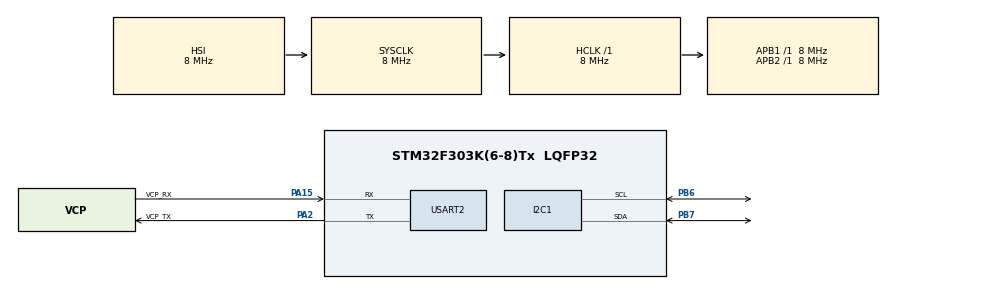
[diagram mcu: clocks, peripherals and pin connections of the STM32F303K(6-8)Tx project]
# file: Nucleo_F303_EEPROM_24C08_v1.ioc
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Mcu.Family=STM32F3
Mcu.Name=STM32F303K(6-8)Tx
Mcu.Package=LQFP32
NVIC.PriorityGroup=NVIC_PRIORITYGROUP_4
PA13.GPIO_Label=SWDIO
PA13.Mode=Serial_Wire
PA13.Signal=SYS_JTMS-SWDIO
PA14.GPIO_Label=SWCLK
PA14.Mode=Serial_Wire
PA14.Signal=SYS_JTCK-SWCLK
PA15.GPIO_Label=VCP_RX
PA15.Mode=Asynchronous
PA15.Signal=USART2_RX
PA2.GPIO_Label=VCP_TX
PA2.Mode=Asynchronous
PA2.Signal=USART2_TX
PB6.Mode=I2C
PB6.Signal=I2C1_SCL
PB7.Mode=I2C
PB7.Signal=I2C1_SDA
PF0\ /\ OSC_IN.GPIO_Label=MCO
PF0\ /\ OSC_IN.Mode=HSE-External-Clock-Source
PF0\ /\ OSC_IN.Signal=RCC_OSC_IN
ProjectManager.HeapSize=0x200
ProjectManager.StackSize=0x400
ProjectManager.TargetToolchain=STM32CubeIDE
RCC.AHBFreq_Value=8000000
RCC.APB1Freq_Value=8000000
RCC.APB2Freq_Value=8000000
RCC.CortexFreq_Value=8000000
RCC.HSE_VALUE=8000000
RCC.HSI_VALUE=8000000
RCC.SYSCLKFreq_VALUE=8000000
USART2.VirtualMode-Asynchronous=VM_ASYNC
board=NUCLEO-F303K8

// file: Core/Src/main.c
/* USER CODE BEGIN Header */
/**
  ******************************************************************************
  * @file           : main.c
  * @brief          : Main program body
  ******************************************************************************
  * @attention
  *
  * Copyright (c) 2023 STMicroelectronics.
  * All rights reserved.
  *
  * This software is licensed under terms that can be found in the LICENSE file
  * in the root directory of this software component.
  * If no LICENSE file comes with this software, it is provided AS-IS.
  *
  ******************************************************************************
  */
/* USER CODE END Header */
#include "main.h"

/* USER CODE BEGIN Includes */
#include "ee24.h"
#include <stdio.h>
#include <stdlib.h>
#include <string.h>
#include <math.h>
/* USER CODE END Includes */

/* USER CODE BEGIN PTD */

typedef union {
  float f;
  uint8_t u8[4];
  uint32_t u32;
} FloatHex;

/* USER CODE END PTD */

/* USER CODE BEGIN PD */
#define DATA_SIZE 32
/* USER CODE END PD */

I2C_HandleTypeDef hi2c1;

UART_HandleTypeDef huart2;

void SystemClock_Config(void);
static void MX_GPIO_Init(void);
static void MX_I2C1_Init(void);
static void MX_USART2_UART_Init(void);

int main(void)
{
  /* USER CODE BEGIN 1 */
	bool status=false;
	uint8_t data[DATA_SIZE];
	FloatHex fh;
  /* USER CODE END 1 */

  /* MCU Configuration--------------------------------------------------------*/

  /* Reset of all peripherals, Initializes the Flash interface and the Systick. */
  HAL_Init();

  /* Configure the system clock */
  SystemClock_Config();

  /* Initialize all configured peripherals */
  MX_GPIO_Init();
  MX_I2C1_Init();
  MX_USART2_UART_Init();
  /* USER CODE BEGIN 2 */

  #define nREADONLY
  #ifndef READONLY
  for (int i=0; i<DATA_SIZE; i++){
	  data[i]=255-i; // i mod 256 because data are stored in an 8-bit array
  }

  if (ee24_isConnected())
  {
	  status=ee24_write(0, data, DATA_SIZE, EE24_TIMEOUT);
	  if (status==false) Error_Handler();

//	  /* write pi number at addresses 0 and 4*/
//	  fh.f=16*M_PI;
//	  status=ee24_write(0, fh.u8, 4, EE24_TIMEOUT);
//	  if (status==false) Error_Handler();
//
	  fh.f=M_PI;
	  status=ee24_write(4, fh.u8, 4, EE24_TIMEOUT);
	  if (status==false) Error_Handler();
//
//	  fh.f=M_PI;
//	  status=ee24_write(0, fh.u8, 4, EE24_TIMEOUT);
//	  if (status==false) Error_Handler();
  }

#endif

  /* Reset the memory bloc */
  memset( data, 0, DATA_SIZE );

  if (ee24_isConnected())
  {
	  status=ee24_read(0, data, DATA_SIZE, EE24_TIMEOUT);
	  if (status==false) Error_Handler();
  }

  /* read a float number at addresses 0 and 3*/
  fh.f=0.;
  if (ee24_isConnected())
  {
	  status=ee24_read(0, fh.u8, 4, EE24_TIMEOUT);
	  if (status==false) Error_Handler();
	  status=ee24_read(4, fh.u8, 4, EE24_TIMEOUT);
	  if (status==false) Error_Handler();
  }

  __NOP();

  /* USER CODE END 2 */

  /* Infinite loop */
  while (1)
  {

  }
}

void SystemClock_Config(void)
{
  RCC_OscInitTypeDef RCC_OscInitStruct = {0};
  RCC_ClkInitTypeDef RCC_ClkInitStruct = {0};
  RCC_PeriphCLKInitTypeDef PeriphClkInit = {0};

  /** Initializes the RCC Oscillators according to the specified parameters
  * in the RCC_OscInitTypeDef structure.
  */
  RCC_OscInitStruct.OscillatorType = RCC_OSCILLATORTYPE_HSI;
  RCC_OscInitStruct.HSIState = RCC_HSI_ON;
  RCC_OscInitStruct.HSICalibrationValue = RCC_HSICALIBRATION_DEFAULT;
  RCC_OscInitStruct.PLL.PLLState = RCC_PLL_NONE;
  if (HAL_RCC_OscConfig(&RCC_OscInitStruct) != HAL_OK)
  {
    Error_Handler();
  }

  /** Initializes the CPU, AHB and APB buses clocks
  */
  RCC_ClkInitStruct.ClockType = RCC_CLOCKTYPE_HCLK|RCC_CLOCKTYPE_SYSCLK
                              |RCC_CLOCKTYPE_PCLK1|RCC_CLOCKTYPE_PCLK2;
  RCC_ClkInitStruct.SYSCLKSource = RCC_SYSCLKSOURCE_HSI;
  RCC_ClkInitStruct.AHBCLKDivider = RCC_SYSCLK_DIV1;
  RCC_ClkInitStruct.APB1CLKDivider = RCC_HCLK_DIV1;
  RCC_ClkInitStruct.APB2CLKDivider = RCC_HCLK_DIV1;

  if (HAL_RCC_ClockConfig(&RCC_ClkInitStruct, FLASH_LATENCY_0) != HAL_OK)
  {
    Error_Handler();
  }
  PeriphClkInit.PeriphClockSelection = RCC_PERIPHCLK_I2C1;
  PeriphClkInit.I2c1ClockSelection = RCC_I2C1CLKSOURCE_HSI;
  if (HAL_RCCEx_PeriphCLKConfig(&PeriphClkInit) != HAL_OK)
  {
    Error_Handler();
  }
}

static void MX_I2C1_Init(void)
{

  hi2c1.Instance = I2C1;
  hi2c1.Init.Timing = 0x2000090E;
  hi2c1.Init.OwnAddress1 = 0;
  hi2c1.Init.AddressingMode = I2C_ADDRESSINGMODE_7BIT;
  hi2c1.Init.DualAddressMode = I2C_DUALADDRESS_DISABLE;
  hi2c1.Init.OwnAddress2 = 0;
  hi2c1.Init.OwnAddress2Masks = I2C_OA2_NOMASK;
  hi2c1.Init.GeneralCallMode = I2C_GENERALCALL_DISABLE;
  hi2c1.Init.NoStretchMode = I2C_NOSTRETCH_DISABLE;
  if (HAL_I2C_Init(&hi2c1) != HAL_OK)
  {
    Error_Handler();
  }

  /** Configure Analogue filter
  */
  if (HAL_I2CEx_ConfigAnalogFilter(&hi2c1, I2C_ANALOGFILTER_ENABLE) != HAL_OK)
  {
    Error_Handler();
  }

  /** Configure Digital filter
  */
  if (HAL_I2CEx_ConfigDigitalFilter(&hi2c1, 0) != HAL_OK)
  {
    Error_Handler();
  }

}

static void MX_USART2_UART_Init(void)
{

  huart2.Instance = USART2;
  huart2.Init.BaudRate = 38400;
  huart2.Init.WordLength = UART_WORDLENGTH_8B;
  huart2.Init.StopBits = UART_STOPBITS_1;
  huart2.Init.Parity = UART_PARITY_NONE;
  huart2.Init.Mode = UART_MODE_TX_RX;
  huart2.Init.HwFlowCtl = UART_HWCONTROL_NONE;
  huart2.Init.OverSampling = UART_OVERSAMPLING_16;
  huart2.Init.OneBitSampling = UART_ONE_BIT_SAMPLE_DISABLE;
  huart2.AdvancedInit.AdvFeatureInit = UART_ADVFEATURE_NO_INIT;
  if (HAL_UART_Init(&huart2) != HAL_OK)
  {
    Error_Handler();
  }

}

static void MX_GPIO_Init(void)
{

  /* GPIO Ports Clock Enable */
  __HAL_RCC_GPIOF_CLK_ENABLE();
  __HAL_RCC_GPIOA_CLK_ENABLE();
  __HAL_RCC_GPIOB_CLK_ENABLE();

}

void Error_Handler(void)
{
  __disable_irq();
  while (1)
  {
  }
}
